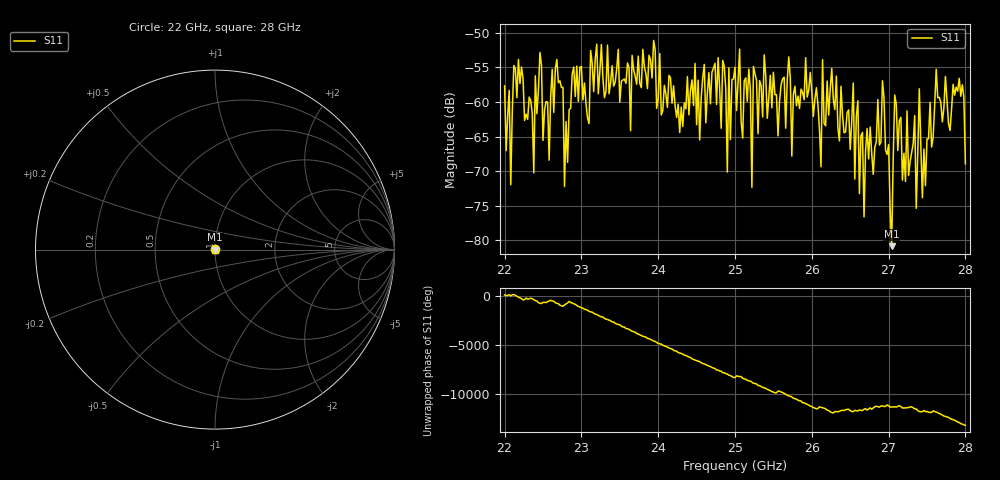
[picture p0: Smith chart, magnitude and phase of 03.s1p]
#  HZ  S  RI  R  50.00
! Rohde & Schwarz ZVA40 4Ports - Version 3.90 - 1145.1110k42 SN: 100403
! Date: 2023-10-04 09:37:25
! Measurement: S12
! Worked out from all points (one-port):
!   301 points, 22 GHz to 28 GHz, reference 50 ohm
!   lowest |S11| = -80.8 dB at 27.04 GHz (marker M1), VSWR 1.00, Z = 50 - j0.00385 ohm
!   |S11| at or under -10 dB: start of sweep to end of sweep
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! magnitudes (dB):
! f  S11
! 22 GHz  -57.7
! 22.08 GHz  -72.0
! 22.12 GHz  -54.7
! 22.38 GHz  -70.2
! 22.46 GHz  -52.8
! 22.58 GHz  -68.4
! 22.76 GHz  -57.9
! 22.78 GHz  -72.2
! 22.9 GHz  -55.0
! 23.5 GHz  -60.0
! 24.26 GHz  -60.3
! 24.84 GHz  -54.0
! 24.9 GHz  -70.1
! 24.92 GHz  -55.1
! 25 GHz  -55.0
! 25.18 GHz  -55.2
! 25.22 GHz  -72.3
! 25.24 GHz  -54.9
! 25.76 GHz  -58.9
! 26.5 GHz  -66.9
! 26.6 GHz  -59.8
! 26.68 GHz  -76.6
! 26.92 GHz  -56.9
! 27.04 GHz  -80.8
! 27.08 GHz  -59.0
! 27.26 GHz  -70.6
! 27.62 GHz  -55.3
! 28 GHz  -68.9
